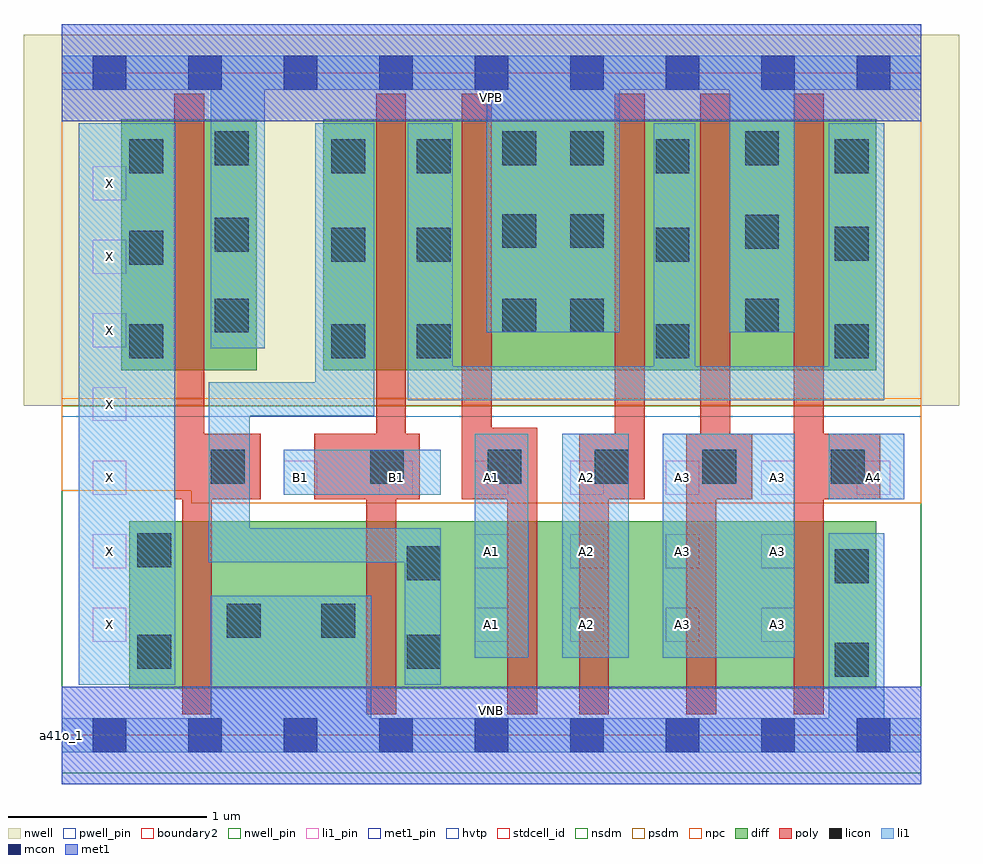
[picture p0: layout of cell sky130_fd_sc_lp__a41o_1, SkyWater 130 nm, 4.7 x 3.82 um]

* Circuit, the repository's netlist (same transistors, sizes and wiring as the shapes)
* Copyright 2020 The SkyWater PDK Authors
*
* Licensed under the Apache License, Version 2.0 (the "License");
* you may not use this file except in compliance with the License.
* You may obtain a copy of the License at
*
*     https://www.apache.org/licenses/LICENSE-2.0
*
* Unless required by applicable law or agreed to in writing, software
* distributed under the License is distributed on an "AS IS" BASIS,
* WITHOUT WARRANTIES OR CONDITIONS OF ANY KIND, either express or implied.
* See the License for the specific language governing permissions and
* limitations under the License.
*
* SPDX-License-Identifier: Apache-2.0

.SUBCKT sky130_fd_sc_lp__a41o_1 A1 A2 A3 A4 B1 VGND VNB VPB VPWR X
*.PININFO A1:I A2:I A3:I A4:I B1:I VGND:I VNB:I VPB:I VPWR:I X:O
MMPA0 pndA A1 VPWR VPB sky130_fd_pr__pfet_01v8_hvt m=1 w=1.26U l=0.15U mult=1 sa=0.265
+ sb=0.265 sd=0.28 area=0.063 perim=1.14
MMPA1 pndA A2 VPWR VPB sky130_fd_pr__pfet_01v8_hvt m=1 w=1.26U l=0.15U mult=1 sa=0.265
+ sb=0.265 sd=0.28 area=0.063 perim=1.14
MMPA2 pndA A3 VPWR VPB sky130_fd_pr__pfet_01v8_hvt m=1 w=1.26U l=0.15U mult=1 sa=0.265
+ sb=0.265 sd=0.28 area=0.063 perim=1.14
MMPA3 pndA A4 VPWR VPB sky130_fd_pr__pfet_01v8_hvt m=1 w=1.26U l=0.15U mult=1 sa=0.265
+ sb=0.265 sd=0.28 area=0.063 perim=1.14
MMPB0 y B1 pndA VPB sky130_fd_pr__pfet_01v8_hvt m=1 w=1.26U l=0.15U mult=1 sa=0.265
+ sb=0.265 sd=0.28 area=0.063 perim=1.14
MMIPX X y VPWR VPB sky130_fd_pr__pfet_01v8_hvt m=1 w=1.26U l=0.15U mult=1 sa=0.265
+ sb=0.265 sd=0.28 area=0.063 perim=1.14
MMNA0 y A1 sndA1 VNB sky130_fd_pr__nfet_01v8 m=1 w=0.84U l=0.15U mult=1 sa=0.265
+ sb=0.265 sd=0.28 area=0.063 perim=1.14
MMNA1 sndA1 A2 sndA2 VNB sky130_fd_pr__nfet_01v8 m=1 w=0.84U l=0.15U mult=1 sa=0.265
+ sb=0.265 sd=0.28 area=0.063 perim=1.14
MMNA2 sndA2 A3 sndA3 VNB sky130_fd_pr__nfet_01v8 m=1 w=0.84U l=0.15U mult=1 sa=0.265
+ sb=0.265 sd=0.28 area=0.063 perim=1.14
MMNA3 sndA3 A4 VGND VNB sky130_fd_pr__nfet_01v8 m=1 w=0.84U l=0.15U mult=1 sa=0.265
+ sb=0.265 sd=0.28 area=0.063 perim=1.14
MMNB0 y B1 VGND VNB sky130_fd_pr__nfet_01v8 m=1 w=0.84U l=0.15U mult=1 sa=0.265
+ sb=0.265 sd=0.28 area=0.063 perim=1.14
MMINX X y VGND VNB sky130_fd_pr__nfet_01v8 m=1 w=0.84U l=0.15U mult=1 sa=0.265
+ sb=0.265 sd=0.28 area=0.063 perim=1.14
.ENDS sky130_fd_sc_lp__a41o_1

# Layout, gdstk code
import gdstk
lib = gdstk.Library(unit=1e-6, precision=1e-09)
def R(c, l, rs):  # rectangles x0, y0, x1, y1
    for r in rs: c.add(gdstk.rectangle(r[:2], r[2:], *l))
def A(c, l, x, y, w, h, nx, ny, dx, dy):  # array of equal rectangles
    R(c, l, [(x+i*dx, y+j*dy, x+i*dx+w, y+j*dy+h) for i in range(nx) for j in range(ny)])
def P(c, l, *ps):  # polygons
    for p in ps: c.add(gdstk.Polygon(p, *l))
nwell_pin = (64, 16)
nwell = (64, 20)
diff = (65, 20)
poly = (66, 20)
licon = (66, 44)
li1_pin = (67, 16)
li1 = (67, 20)
mcon = (67, 44)
met1_pin = (68, 16)
met1 = (68, 20)
hvtp = (78, 44)
stdcell_id = (81, 4)
nsdm = (93, 44)
psdm = (94, 20)
npc = (95, 20)
pwell_pin = (122, 16)
boundary2 = (236, 0)

sky130_fd_sc_lp__a41o_1 = lib.new_cell('sky130_fd_sc_lp__a41o_1')
R(sky130_fd_sc_lp__a41o_1, nwell_pin, [(0,3.085,4.32,3.33)])
R(sky130_fd_sc_lp__a41o_1, nwell, [(-0.19,1.655,4.51,3.52)])
R(sky130_fd_sc_lp__a41o_1, diff, [(0.34,0.235,4.095,1.075), (0.3,1.835,0.98,3.095), (1.315,1.835,4.095,3.095)])
P(sky130_fd_sc_lp__a41o_1, poly, [(1,1.515),(0.715,1.515),(0.715,3.225),(0.565,3.225),(0.565,1.185),(0.605,1.185),(0.605,0.105),(0.755,0.105),(0.755,1.185),(1,1.185)],
  [(1.73,3.225),(1.58,3.225),(1.58,1.515),(1.27,1.515),(1.27,1.185),(1.53,1.185),(1.53,0.105),(1.68,0.105),(1.68,1.185),(1.8,1.185),(1.8,1.515),(1.73,1.515)],
  [(2.39,1.545),(2.16,1.545),(2.16,3.225),(2.01,3.225),(2.01,1.185),(2.24,1.185),(2.24,0.105),(2.39,0.105)],
  [(2.93,3.225),(2.78,3.225),(2.78,1.515),(2.6,1.515),(2.6,0.105),(2.75,0.105),(2.75,1.185),(2.93,1.185)],
  [(3.47,1.515),(3.36,1.515),(3.36,3.225),(3.21,3.225),(3.21,1.515),(3.14,1.515),(3.14,0.105),(3.29,0.105),(3.29,1.185),(3.47,1.185)],
  [(4.115,1.515),(3.83,1.515),(3.83,3.225),(3.68,3.225),(3.68,0.105),(3.83,0.105),(3.83,1.185),(4.115,1.185)])
A(sky130_fd_sc_lp__a41o_1, licon, 2.14, 1.265, 0.17, 0.17, 3, 1, 0.54, 0)
A(sky130_fd_sc_lp__a41o_1, licon, 3.435, 2.025, 0.17, 0.17, 1, 3, 0, 0.42)
R(sky130_fd_sc_lp__a41o_1, licon, [(3.885,0.295,4.055,0.465), (0.38,0.335,0.55,0.505), (1.735,0.335,1.905,0.505), (0.83,0.49,1,0.66), (1.305,0.49,1.475,0.66), (3.885,0.765,4.055,0.935), (1.735,0.78,1.905,0.95), (0.38,0.845,0.55,1.015), (0.75,1.265,0.92,1.435), (1.55,1.265,1.72,1.435), (3.865,1.265,4.035,1.435), (0.34,1.895,0.51,2.065), (1.355,1.895,1.525,2.065), (1.785,1.895,1.955,2.065), (2.985,1.895,3.155,2.065), (3.885,1.895,4.055,2.065), (0.77,2.025,0.94,2.195), (2.215,2.025,2.385,2.195), (2.555,2.025,2.725,2.195), (0.34,2.365,0.51,2.535), (1.355,2.38,1.525,2.55), (1.785,2.38,1.955,2.55), (2.985,2.38,3.155,2.55), (3.885,2.385,4.055,2.555), (0.77,2.43,0.94,2.6), (2.215,2.45,2.385,2.62), (2.555,2.45,2.725,2.62), (0.34,2.825,0.51,2.995), (1.355,2.825,1.525,2.995), (1.785,2.825,1.955,2.995), (2.985,2.825,3.155,2.995), (3.885,2.825,4.055,2.995), (0.77,2.865,0.94,3.035), (2.215,2.865,2.385,3.035), (2.555,2.865,2.725,3.035)])
A(sky130_fd_sc_lp__a41o_1, li1_pin, 0.155, 0.47, 0.17, 0.17, 1, 7, 0, 0.37)
A(sky130_fd_sc_lp__a41o_1, li1_pin, 2.075, 0.47, 0.17, 0.17, 4, 2, 0.48, 0.37)
A(sky130_fd_sc_lp__a41o_1, li1_pin, 1.115, 1.21, 0.17, 0.17, 7, 1, 0.48, 0)
R(sky130_fd_sc_lp__a41o_1, li1, [(0.085,0.255,0.57,3.075), (2.075,0.39,2.345,1.515), (2.515,0.39,2.85,1.515), (3.02,0.39,3.685,1.515), (3.855,1.185,4.235,1.515), (1.115,1.21,1.905,1.435)])
P(sky130_fd_sc_lp__a41o_1, li1, [(0.75,1.945),(0.75,3.245),(0,3.245),(0,3.415),(4.32,3.415),(4.32,3.245),(3.685,3.245),(3.685,2.025),(3.355,2.025),(3.355,3.245),(2.805,3.245),(2.805,2.025),(2.135,2.025),(2.135,3.245),(1.02,3.245),(1.02,1.945)],
  [(3.855,0.085),(3.855,1.015),(4.135,1.015),(4.135,0.085),(4.32,0.085),(4.32,-0.085),(0,-0.085),(0,0.085),(0.75,0.085),(0.75,0.7),(1.555,0.7),(1.555,0.085)],
  [(0.74,0.87),(0.74,1.775),(1.275,1.775),(1.275,3.075),(1.57,3.075),(1.57,1.605),(0.945,1.605),(0.945,1.04),(1.905,1.04),(1.905,0.255),(1.725,0.255),(1.725,0.87)],
  [(3.185,1.855),(3.855,1.855),(3.855,3.075),(4.135,3.075),(4.135,1.685),(1.74,1.685),(1.74,3.075),(1.965,3.075),(1.965,1.855),(2.975,1.855),(2.975,3.075),(3.185,3.075)])
A(sky130_fd_sc_lp__a41o_1, mcon, 0.155, -0.085, 0.17, 0.17, 9, 2, 0.48, 3.33)
R(sky130_fd_sc_lp__a41o_1, met1_pin, [(0,0,4.32,0.245), (0,3.085,4.32,3.33)])
R(sky130_fd_sc_lp__a41o_1, met1, [(0,-0.245,4.32,0.245), (0,3.085,4.32,3.575)])
R(sky130_fd_sc_lp__a41o_1, hvtp, [(0,1.6,4.32,3.33)])
R(sky130_fd_sc_lp__a41o_1, stdcell_id, [(0,0,4.32,3.33)])
R(sky130_fd_sc_lp__a41o_1, nsdm, [(0,-0.19,4.32,1.655)])
R(sky130_fd_sc_lp__a41o_1, psdm, [(0,1.655,4.32,3.52)])
P(sky130_fd_sc_lp__a41o_1, npc, [(4.32,1.695),(0,1.695),(0,1.23),(0.65,1.23),(0.65,1.165),(4.32,1.165)])
R(sky130_fd_sc_lp__a41o_1, pwell_pin, [(0,0,4.32,0.245)])
R(sky130_fd_sc_lp__a41o_1, boundary2, [(0,0,4.32,3.33)])
sky130_fd_sc_lp__a41o_1.add(gdstk.Label('VNB', (2.16,0.123), layer=64, texttype=59))
sky130_fd_sc_lp__a41o_1.add(gdstk.Label('VPB', (2.16,3.208), layer=64, texttype=5))
sky130_fd_sc_lp__a41o_1.add(gdstk.Label('a41o_1', (0,0), layer=83, texttype=44))
sky130_fd_sc_lp__a41o_1.add(gdstk.Label('VPWR', (2.16,3.208), layer=68, texttype=5))
sky130_fd_sc_lp__a41o_1.add(gdstk.Label('VGND', (2.16,0.123), layer=68, texttype=5))
sky130_fd_sc_lp__a41o_1.add(gdstk.Label('A2', (2.64,0.555), layer=67, texttype=5))
sky130_fd_sc_lp__a41o_1.add(gdstk.Label('A2', (2.64,0.925), layer=67, texttype=5))
sky130_fd_sc_lp__a41o_1.add(gdstk.Label('A2', (2.64,1.295), layer=67, texttype=5))
sky130_fd_sc_lp__a41o_1.add(gdstk.Label('A3', (3.12,0.555), layer=67, texttype=5))
sky130_fd_sc_lp__a41o_1.add(gdstk.Label('A3', (3.12,0.925), layer=67, texttype=5))
sky130_fd_sc_lp__a41o_1.add(gdstk.Label('A3', (3.12,1.295), layer=67, texttype=5))
sky130_fd_sc_lp__a41o_1.add(gdstk.Label('A3', (3.6,0.555), layer=67, texttype=5))
sky130_fd_sc_lp__a41o_1.add(gdstk.Label('A3', (3.6,0.925), layer=67, texttype=5))
sky130_fd_sc_lp__a41o_1.add(gdstk.Label('A3', (3.6,1.295), layer=67, texttype=5))
sky130_fd_sc_lp__a41o_1.add(gdstk.Label('X', (0.24,0.555), layer=67, texttype=5))
sky130_fd_sc_lp__a41o_1.add(gdstk.Label('X', (0.24,0.925), layer=67, texttype=5))
sky130_fd_sc_lp__a41o_1.add(gdstk.Label('X', (0.24,1.295), layer=67, texttype=5))
sky130_fd_sc_lp__a41o_1.add(gdstk.Label('X', (0.24,1.665), layer=67, texttype=5))
sky130_fd_sc_lp__a41o_1.add(gdstk.Label('X', (0.24,2.035), layer=67, texttype=5))
sky130_fd_sc_lp__a41o_1.add(gdstk.Label('X', (0.24,2.405), layer=67, texttype=5))
sky130_fd_sc_lp__a41o_1.add(gdstk.Label('X', (0.24,2.775), layer=67, texttype=5))
sky130_fd_sc_lp__a41o_1.add(gdstk.Label('A1', (2.16,0.555), layer=67, texttype=5))
sky130_fd_sc_lp__a41o_1.add(gdstk.Label('A1', (2.16,0.925), layer=67, texttype=5))
sky130_fd_sc_lp__a41o_1.add(gdstk.Label('A1', (2.16,1.295), layer=67, texttype=5))
sky130_fd_sc_lp__a41o_1.add(gdstk.Label('A4', (4.08,1.295), layer=67, texttype=5))
sky130_fd_sc_lp__a41o_1.add(gdstk.Label('B1', (1.2,1.295), layer=67, texttype=5))
sky130_fd_sc_lp__a41o_1.add(gdstk.Label('B1', (1.68,1.295), layer=67, texttype=5))

lib.write_gds('sky130_fd_sc_lp__a41o_1.gds')
